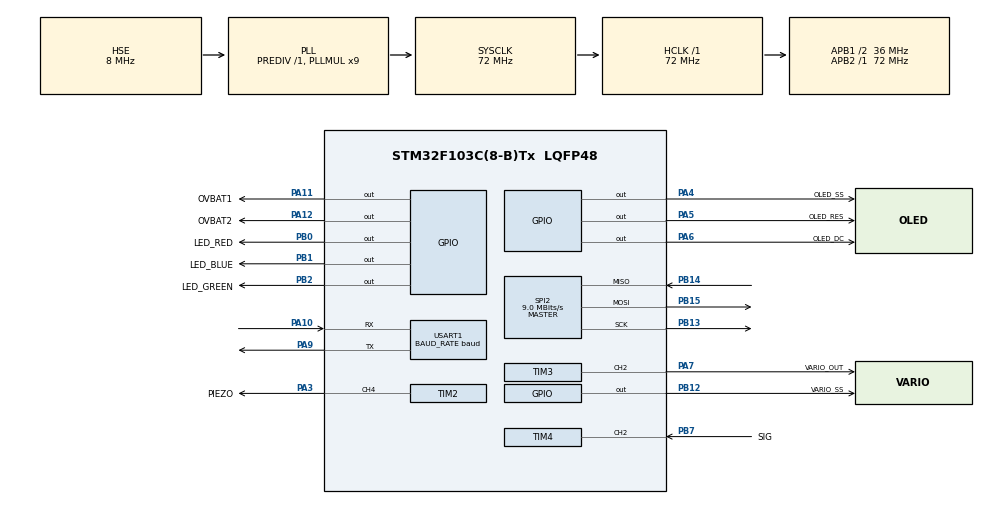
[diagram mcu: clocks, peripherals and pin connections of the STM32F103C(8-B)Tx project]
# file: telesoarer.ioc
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Dma.Request0=SPI2_TX
Dma.Request1=SPI2_RX
Dma.SPI2_RX.1.Direction=DMA_PERIPH_TO_MEMORY
Dma.SPI2_RX.1.Instance=DMA1_Channel4
Dma.SPI2_RX.1.MemDataAlignment=DMA_MDATAALIGN_BYTE
Dma.SPI2_RX.1.MemInc=DMA_MINC_ENABLE
Dma.SPI2_RX.1.Mode=DMA_NORMAL
Dma.SPI2_RX.1.PeriphDataAlignment=DMA_PDATAALIGN_BYTE
Dma.SPI2_RX.1.PeriphInc=DMA_PINC_DISABLE
Dma.SPI2_RX.1.Priority=DMA_PRIORITY_HIGH
Dma.SPI2_TX.0.Direction=DMA_MEMORY_TO_PERIPH
Dma.SPI2_TX.0.Instance=DMA1_Channel5
Dma.SPI2_TX.0.MemDataAlignment=DMA_MDATAALIGN_BYTE
Dma.SPI2_TX.0.MemInc=DMA_MINC_ENABLE
Dma.SPI2_TX.0.Mode=DMA_NORMAL
Dma.SPI2_TX.0.PeriphDataAlignment=DMA_PDATAALIGN_BYTE
Dma.SPI2_TX.0.PeriphInc=DMA_PINC_DISABLE
Dma.SPI2_TX.0.Priority=DMA_PRIORITY_VERY_HIGH
Mcu.Family=STM32F1
Mcu.Name=STM32F103C(8-B)Tx
Mcu.Package=LQFP48
Mcu.UserConstants=BAUD_RATE,115200;TIM2_PRESCALE,72000000/256/2800;TIM3_PRESCALE,72000000/1024/2000;TIM4_PRESCALE,((72/2)-1)
NVIC.DMA1_Channel4_IRQn=true\:0\:0\:false\:false\:true
NVIC.DMA1_Channel5_IRQn=true\:0\:0\:false\:false\:true
NVIC.PriorityGroup=NVIC_PRIORITYGROUP_4
NVIC.SPI2_IRQn=true\:0\:0\:false\:false\:true
NVIC.TIM4_IRQn=true\:0\:0\:false\:false\:true
PA10.Mode=Asynchronous
PA10.Signal=USART1_RX
PA11.GPIO_Label=OVBAT1
PA11.Signal=GPIO_Output
PA12.GPIO_Label=OVBAT2
PA12.Signal=GPIO_Output
PA13.Mode=Serial_Wire
PA13.Signal=SYS_JTMS-SWDIO
PA14.Mode=Serial_Wire
PA14.Signal=SYS_JTCK-SWCLK
PA3.GPIO_Label=PIEZO
PA3.GPIO_ModeDefaultPP=GPIO_MODE_AF_PP
PA3.Signal=S_TIM2_CH4
PA4.GPIO_Label=OLED_SS
PA4.Signal=GPIO_Output
PA5.GPIO_Label=OLED_RES
PA5.GPIO_Speed=GPIO_SPEED_FREQ_MEDIUM
PA5.PinState=GPIO_PIN_SET
PA5.Signal=GPIO_Output
PA6.GPIO_Label=OLED_DC
PA6.GPIO_Speed=GPIO_SPEED_FREQ_MEDIUM
PA6.PinState=GPIO_PIN_SET
PA6.Signal=GPIO_Output
PA7.GPIO_Label=VARIO_OUT
PA7.Signal=S_TIM3_CH2
PA9.Mode=Asynchronous
PA9.Signal=USART1_TX
PB0.GPIO_Label=LED_RED
PB0.Signal=GPIO_Output
PB1.GPIO_Label=LED_BLUE
PB1.Signal=GPIO_Output
PB12.GPIO_Label=VARIO_SS
PB12.GPIO_Speed=GPIO_SPEED_FREQ_HIGH
PB12.PinState=GPIO_PIN_SET
PB12.Signal=GPIO_Output
PB13.GPIO_Speed=GPIO_SPEED_FREQ_HIGH
PB13.Mode=Full_Duplex_Master
PB13.Signal=SPI2_SCK
PB14.Mode=Full_Duplex_Master
PB14.Signal=SPI2_MISO
PB15.GPIO_Speed=GPIO_SPEED_FREQ_HIGH
PB15.Mode=Full_Duplex_Master
PB15.Signal=SPI2_MOSI
PB2.GPIO_Label=LED_GREEN
PB2.Signal=GPIO_Output
PB7.GPIO_Label=SIG
PB7.Signal=S_TIM4_CH2
PD0-OSC_IN.Mode=HSE-External-Oscillator
PD0-OSC_IN.Signal=RCC_OSC_IN
PD1-OSC_OUT.Mode=HSE-External-Oscillator
PD1-OSC_OUT.Signal=RCC_OSC_OUT
ProjectManager.HeapSize=0x200
ProjectManager.StackSize=0x400
ProjectManager.TargetToolchain=Other Toolchains (GPDSC)
RCC.AHBFreq_Value=72000000
RCC.APB1CLKDivider=RCC_HCLK_DIV2
RCC.APB1Freq_Value=36000000
RCC.APB1TimFreq_Value=72000000
RCC.APB2Freq_Value=72000000
RCC.APB2TimFreq_Value=72000000
RCC.HCLKFreq_Value=72000000
RCC.HSIState=RCC_HSI_ON
RCC.PLLMUL=RCC_PLL_MUL9
RCC.PLLSourceVirtual=RCC_PLLSOURCE_HSE
RCC.SYSCLKFreq_VALUE=72000000
RCC.SYSCLKSource=RCC_SYSCLKSOURCE_PLLCLK
RCC.USBFreq_Value=72000000
SH.S_TIM2_CH4.0=TIM2_CH4,PWM Generation4 CH4
SH.S_TIM3_CH2.0=TIM3_CH2,PWM Generation2 CH2
SH.S_TIM4_CH2.0=TIM4_CH2,PWM_Input_2
SPI2.BaudRatePrescaler=SPI_BAUDRATEPRESCALER_4
SPI2.CLKPhase=SPI_PHASE_2EDGE
SPI2.CLKPolarity=SPI_POLARITY_HIGH
SPI2.CalculateBaudRate=9.0 MBits/s
SPI2.Mode=SPI_MODE_MASTER
TIM2.Channel-PWM\ Generation4\ CH4=TIM_CHANNEL_4
TIM2.Period=255
TIM2.Prescaler=TIM2_PRESCALE
TIM2.Pulse-PWM\ Generation4\ CH4=15
TIM3.Channel-PWM\ Generation2\ CH2=TIM_CHANNEL_2
TIM4.ICFilter_1=0
TIM4.ICFilter_2=0
TIM4.ICPolarity_1=TIM_INPUTCHANNELPOLARITY_FALLING
TIM4.Period=65535
TIM4.Prescaler=TIM4_PRESCALE
USART1.BaudRate=BAUD_RATE
VP_TIM2_VS_ClockSourceINT.Mode=Internal
VP_TIM4_VS_ClockSourceINT.Mode=Internal
board=telesoarer

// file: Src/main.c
/**
  ******************************************************************************
  * File Name          : main.c
  * Description        : Main program body
  ******************************************************************************
  *
  * COPYRIGHT(c) 2016 STMicroelectronics
  *
  * Redistribution and use in source and binary forms, with or without modification,
  * are permitted provided that the following conditions are met:
  *   1. Redistributions of source code must retain the above copyright notice,
  *      this list of conditions and the following disclaimer.
  *   2. Redistributions in binary form must reproduce the above copyright notice,
  *      this list of conditions and the following disclaimer in the documentation
  *      and/or other materials provided with the distribution.
  *   3. Neither the name of STMicroelectronics nor the names of its contributors
  *      may be used to endorse or promote products derived from this software
  *      without specific prior written permission.
  *
  * THIS SOFTWARE IS PROVIDED BY THE COPYRIGHT HOLDERS AND CONTRIBUTORS "AS IS"
  * AND ANY EXPRESS OR IMPLIED WARRANTIES, INCLUDING, BUT NOT LIMITED TO, THE
  * IMPLIED WARRANTIES OF MERCHANTABILITY AND FITNESS FOR A PARTICULAR PURPOSE ARE
  * DISCLAIMED. IN NO EVENT SHALL THE COPYRIGHT HOLDER OR CONTRIBUTORS BE LIABLE
  * FOR ANY DIRECT, INDIRECT, INCIDENTAL, SPECIAL, EXEMPLARY, OR CONSEQUENTIAL
  * DAMAGES (INCLUDING, BUT NOT LIMITED TO, PROCUREMENT OF SUBSTITUTE GOODS OR
  * SERVICES; LOSS OF USE, DATA, OR PROFITS; OR BUSINESS INTERRUPTION) HOWEVER
  * CAUSED AND ON ANY THEORY OF LIABILITY, WHETHER IN CONTRACT, STRICT LIABILITY,
  * OR TORT (INCLUDING NEGLIGENCE OR OTHERWISE) ARISING IN ANY WAY OUT OF THE USE
  * OF THIS SOFTWARE, EVEN IF ADVISED OF THE POSSIBILITY OF SUCH DAMAGE.
  *
  ******************************************************************************
  */
#include "main.h"
#include "stm32f1xx_hal.h"
#include "dma.h"
#include "spi.h"
#include "tim.h"
#include "usart.h"
#include "gpio.h"

/* USER CODE BEGIN Includes */
#include <stdio.h>
#include <math.h> // sin (just for testing OLED)
#include "lost_sm.h"
#include "spi_sm.h"
#include "display.h"
#include "ms5611.h"
/* USER CODE END Includes */

/* USER CODE BEGIN PV */
/* Private variables ---------------------------------------------------------*/
volatile int16_t sigPulseWidth = (-1);
volatile int16_t sigPulsePeriod = (-1);
volatile uint16_t activityTimer = 0;
volatile uint16_t auxTimer = 0;
// #define DEBUG 1
/* USER CODE END PV */

void SystemClock_Config(void);
void Error_Handler(void);

/* USER CODE BEGIN PFP */
/* Private function prototypes -----------------------------------------------*/
#ifdef __GNUC__
/* With GCC/RAISONANCE, small printf (option LD Linker->Libraries->Small printf
   set to 'Yes') calls __io_putchar() */
#define PUTCHAR_PROTOTYPE int __io_putchar(int ch)
#else
#define PUTCHAR_PROTOTYPE int fputc(int ch, FILE *f)
#endif /* __GNUC__ */
/* USER CODE END PFP */

/* USER CODE BEGIN 0 */
void beeperOn()
{
  HAL_TIM_PWM_Start(&htim2, TIM_CHANNEL_4);
  LED_ON(GREEN);
}

void beeperOff()
{
  HAL_TIM_PWM_Stop(&htim2, TIM_CHANNEL_4);
  LED_OFF(GREEN);
}

/* USER CODE END 0 */

int main(void)
{

  /* MCU Configuration----------------------------------------------------------*/

  /* Reset of all peripherals, Initializes the Flash interface and the Systick. */
  HAL_Init();

  /* Configure the system clock */
  SystemClock_Config();

  /* Initialize all configured peripherals */
  MX_GPIO_Init();
  MX_DMA_Init();
  MX_USART1_UART_Init();
  MX_TIM2_Init();
  MX_TIM3_Init();
  MX_TIM4_Init();
  MX_SPI2_Init();

  /* USER CODE BEGIN 2 */

  OLED_init();
  VARIO_init();

  static Lost_State lastLostState;
  lastLostState = LOST_STATE;

  /* USER CODE END 2 */

  /* Infinite loop */
  /* USER CODE BEGIN WHILE */
  while (1)
  {
    if (sigPulseWidth > 999) printf("%d\r\n", sigPulseWidth);

    ol_set_font(FONT_LARGE);
    if (LOST_STATE == LS_BOOTING || lastLostState != LOST_STATE)
    {
      cls();
      ol_set_font(1);
      switch (LOST_STATE)
      {
        case LS_BOOTING:
          ol_puts_centered("HELLO");
          break;

        case LS_NOSIG:
          ol_puts_centered("NO SIGNAL");
          break;

        case LS_ASK_PROG:
          ol_puts_centered("PROGRAM?");
          break;

        case LS_PROG_WAIT:
          ol_puts_centered("STICK UP!");
          break;

        case LS_PROGRAMMING:
          ol_puts_centered("PROGRAM!");
          break;

        case LS_PROG_NORMAL:
          ol_puts_centered("MODE NOR?");
          break;

        case LS_PROG_INACTIVITY:
          ol_puts_centered("MODE INA?");
          break;

        case LS_PROG_OK:
          ol_puts_centered("OK");
          break;

        case LS_ARMED_NORMAL:
        case LS_ARMED_INACTIVITY:
        {
          //TODO: enable auto fade on OLED

          static char s_armed[] = "ARMED";
          // center horrizontally
          moveto( (DISPLAY_W / 2) - (sizeof(s_armed) * OLED_font->cols / 2), 0 );
          ol_puts(s_armed);
          break;
        }

        case LS_LOST:
        {
          static char s_lost[] = "I'm LOST!";
          moveto( (DISPLAY_W / 2) - (sizeof(s_lost) * OLED_font->cols / 2), 0 );
          ol_puts(s_lost);
          break;
        }

      } // switch (LOST_STATE)
      lastLostState = LOST_STATE;
    } // if

    switch (LOST_STATE)
    {
        case LS_ARMED_NORMAL:
        case LS_ARMED_INACTIVITY:
        case LS_LOST:
        {
          static char s_normal[] = "NORM";
          static char s_inactivity[] = "INACT";
          ol_set_font(FONT_SMALL); // change to small font
          moveto(0, 24); ol_puts( (runMode == RM_NORMAL) ? s_normal : s_inactivity );

          // calulate sensor air pressure, in milli-Bar
          int64_t dT = (int64_t)MS5611_D2 - ((int64_t)MS5611_C[5] << 8);
          int64_t offset = ((int64_t)MS5611_C[2] << 16) + (((int64_t)MS5611_C[4] * dT) >> 7);
          int64_t sens = ((int64_t)MS5611_C[1] << 15) + (((int64_t)MS5611_C[3] * dT) >> 8);
          int64_t T = 2000 + ((int64_t)dT * ((int64_t)MS5611_C[6]) >> 23);
          int64_t T2 = 0, offset2 = 0, sens2 = 0;
          if (T < 2000) {
            T2 = (dT * dT) >> 31;
            offset2 = 5 * (int64_t)((T - 2000) * (T - 2000)) >> 1;
            sens2 = 5 * (int64_t)((T - 2000) * (T - 2000)) >> 2;
            if (T < -1500) {
              offset2 += 7 * ((T + 1500) * (T + 1500));
              sens2 += 11 * ((T + 1500) * (T + 1500)) >> 1;
            }
          }
          offset = offset - offset2;
          sens = sens - sens2;

          P = ((MS5611_D1 * sens >> 21) - offset) >> 15;  // pressure in mBar (x100)
          TEMP = (T - T2);                                // temperature in degrees Celcius (x100)

          char buf[10];

          sprintf(buf, "%-2d.%1d@C", TEMP / 100, TEMP / 10 % 10);
          moveto( 6*7, 24 );
          ol_puts(buf);

          sprintf(buf, "%4.4u.%02u", (unsigned)P / 100, (unsigned)P % 100);
          moveto(127-8*OLED_font->cols, 24);
          ol_puts(buf);
          break;
        }

        default:
          break;
      }

    HAL_Delay(10);

  /* USER CODE END WHILE */

  /* USER CODE BEGIN 3 */
  } // while(1) main loop
  /* USER CODE END 3 */

}

/** System Clock Configuration
*/
void SystemClock_Config(void)
{

  RCC_OscInitTypeDef RCC_OscInitStruct;
  RCC_ClkInitTypeDef RCC_ClkInitStruct;

    /**Initializes the CPU, AHB and APB busses clocks
    */
  RCC_OscInitStruct.OscillatorType = RCC_OSCILLATORTYPE_HSE;
  RCC_OscInitStruct.HSEState = RCC_HSE_ON;
  RCC_OscInitStruct.HSEPredivValue = RCC_HSE_PREDIV_DIV1;
  RCC_OscInitStruct.HSIState = RCC_HSI_ON;
  RCC_OscInitStruct.PLL.PLLState = RCC_PLL_ON;
  RCC_OscInitStruct.PLL.PLLSource = RCC_PLLSOURCE_HSE;
  RCC_OscInitStruct.PLL.PLLMUL = RCC_PLL_MUL9;
  if (HAL_RCC_OscConfig(&RCC_OscInitStruct) != HAL_OK)
  {
    Error_Handler();
  }

    /**Initializes the CPU, AHB and APB busses clocks
    */
  RCC_ClkInitStruct.ClockType = RCC_CLOCKTYPE_HCLK|RCC_CLOCKTYPE_SYSCLK
                              |RCC_CLOCKTYPE_PCLK1|RCC_CLOCKTYPE_PCLK2;
  RCC_ClkInitStruct.SYSCLKSource = RCC_SYSCLKSOURCE_PLLCLK;
  RCC_ClkInitStruct.AHBCLKDivider = RCC_SYSCLK_DIV1;
  RCC_ClkInitStruct.APB1CLKDivider = RCC_HCLK_DIV2;
  RCC_ClkInitStruct.APB2CLKDivider = RCC_HCLK_DIV1;

  if (HAL_RCC_ClockConfig(&RCC_ClkInitStruct, FLASH_LATENCY_2) != HAL_OK)
  {
    Error_Handler();
  }

    /**Configure the Systick interrupt time
    */
  HAL_SYSTICK_Config(HAL_RCC_GetHCLKFreq()/1000);

    /**Configure the Systick
    */
  HAL_SYSTICK_CLKSourceConfig(SYSTICK_CLKSOURCE_HCLK);

  /* SysTick_IRQn interrupt configuration */
  HAL_NVIC_SetPriority(SysTick_IRQn, 0, 0);
}

/* USER CODE BEGIN 4 */

/**
 * @brief  Retargets the C library printf function to the USART. Called by syscalls.c:_write
 * @param  None
 * @retval None
 */
PUTCHAR_PROTOTYPE
{
  //ol_putc((char)ch);
  HAL_UART_Transmit(&huart1, (uint8_t *)&ch, 1, -1);
  return ch;
}

/* USER CODE END 4 */

void Error_Handler(void)
{
  /* USER CODE BEGIN Error_Handler */
  /* User can add his own implementation to report the HAL error return state */
  /* We should diable ALL interrupts here. BUt I cannot find an instruction for that?! Maybe
     I'm just supposed to manually write int/event mask resgister(s) to all zeroes? */
  while(1)
  {
    LED_TOGGLE(RED);
    LED_TOGGLE(BLUE);
    LED_TOGGLE(GREEN);
    HAL_Delay(50);
  }
  /* USER CODE END Error_Handler */
}

#ifdef USE_FULL_ASSERT

/**
   * @brief Reports the name of the source file and the source line number
   * where the assert_param error has occurred.
   * @param file: pointer to the source file name
   * @param line: assert_param error line source number
   * @retval None
   */
void assert_failed(uint8_t* file, uint32_t line)
{
  /* USER CODE BEGIN 6 */
  /* User can add his own implementation to report the file name and line number,
ex: printf("Wrong parameters value: file %s on line %d\r\n", file, line) */
  printf("ERROR in file %s at line %d", file, (int)line);
  Error_Handler(); // from whence we shall not return
  /* USER CODE END 6 */

}

#endif

/************************ (C) COPYRIGHT STMicroelectronics *****END OF FILE****/
